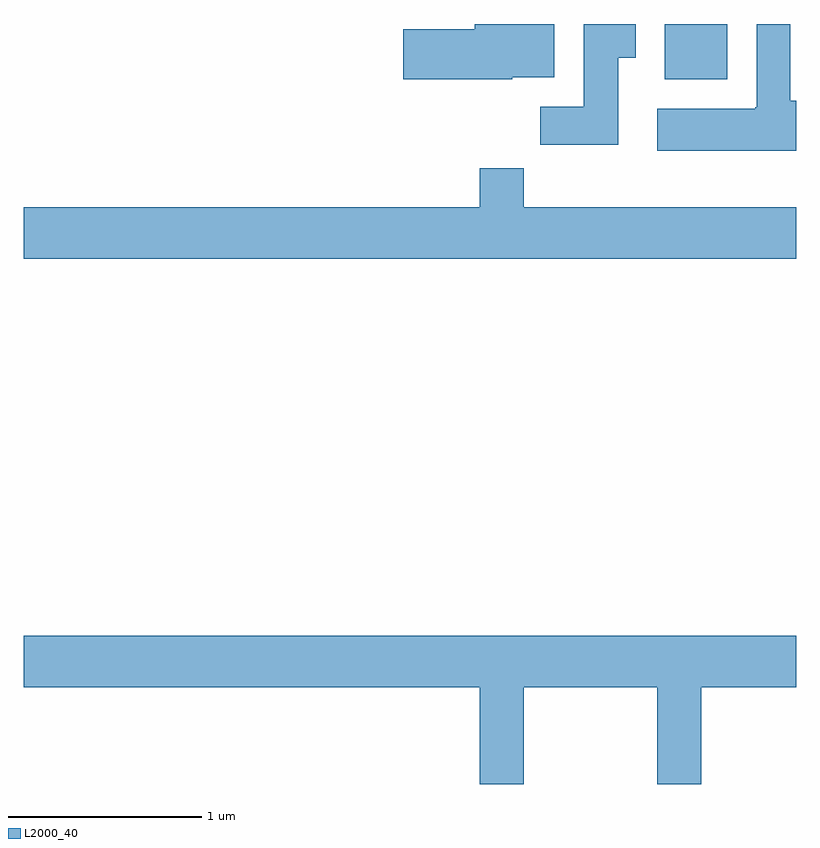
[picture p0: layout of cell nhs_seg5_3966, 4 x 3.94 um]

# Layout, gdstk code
import gdstk
lib = gdstk.Library(unit=1e-6, precision=1e-09)
def R(c, l, rs):  # rectangles x0, y0, x1, y1
    for r in rs: c.add(gdstk.rectangle(r[:2], r[2:], *l))
def P(c, l, *ps):  # polygons
    for p in ps: c.add(gdstk.Polygon(p, *l))
L2000_40 = (2000, 40)

nhs_seg5_3966 = lib.new_cell('nhs_seg5_3966')
R(nhs_seg5_3966, L2000_40, [(306.931,1397.786,307.254,1398.072)])
P(nhs_seg5_3966, L2000_40, [(307.611,1397.674),(307.579,1397.674),(307.579,1398.072),(307.406,1398.072),(307.406,1397.64),(307.4,1397.64),(307.4,1397.634),(306.891,1397.634),(306.891,1397.416),(307.611,1397.416)],
  [(306.689,1397.896),(306.779,1397.896),(306.779,1398.072),(306.511,1398.072),(306.511,1397.644),(306.286,1397.644),(306.286,1397.446),(306.689,1397.446)],
  [(306.14,1397.796),(306.359,1397.796),(306.359,1398.072),(305.946,1398.072),(305.946,1398.044),(305.576,1398.044),(305.576,1397.786),(306.14,1397.786)],
  [(307.611,1397.124),(306.199,1397.124),(306.199,1397.324),(305.971,1397.324),(305.971,1397.124),(303.611,1397.124),(303.611,1396.856),(307.611,1396.856)],
  [(306.199,1394.636),(306.891,1394.636),(306.891,1394.136),(307.119,1394.136),(307.119,1394.636),(307.611,1394.636),(307.611,1394.904),(303.611,1394.904),(303.611,1394.636),(305.971,1394.636),(305.971,1394.136),(306.199,1394.136)])

lib.write_gds('nhs_seg5_3966.gds')
